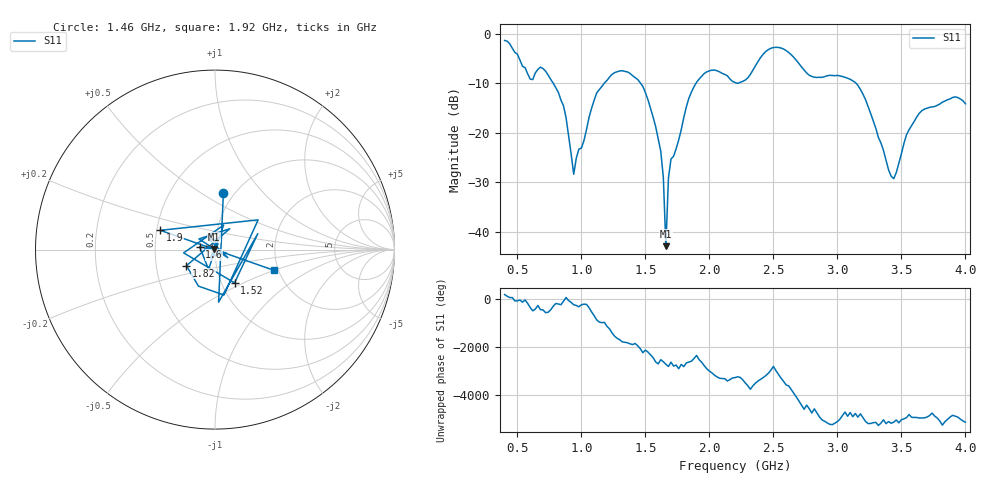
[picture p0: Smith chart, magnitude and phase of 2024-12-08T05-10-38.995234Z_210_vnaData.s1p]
!Created with skrf (http://scikit-rf.org).
# Hz S RI R 50.0
!freq ReS11 ImS11
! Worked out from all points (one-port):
!   181 points, 400 MHz to 4 GHz, reference 50 ohm
!   lowest |S11| = -42.9 dB at 1.66 GHz (marker M1), VSWR 1.01, Z = 49.4 + j0.324 ohm
!   |S11| at or under -10 dB: 779.9 MHz to 1.179 GHz (398.9 MHz wide, 40.7 % of centre); 1.462 GHz to 1.896 GHz (433.9 MHz wide, 25.8 % of centre); 3.145 GHz to end of sweep (the widest 3 of 4)
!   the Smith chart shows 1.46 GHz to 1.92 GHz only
!   S11 on the Smith chart (normalised r, x): 1.46 GHz: 0.89, +0.63; 1.52 GHz: 1.15, -0.45; 1.6 GHz: 0.84, +0.03; 1.82 GHz: 0.72, -0.13; 1.9 GHz: 0.52, +0.13; 1.92 GHz: 1.89, -0.50
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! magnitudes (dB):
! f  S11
! 400 MHz  -1.4
! 600 MHz  -9.2
! 720 MHz  -7.6
! 860 MHz  -14.5
! 940 MHz  -28.4
! 1.12 GHz  -11.9
! 1.3 GHz  -7.5
! 1.46 GHz  -9.9
! 1.52 GHz  -13.4
! 1.6 GHz  -21.2
! 1.64 GHz  -29.0
! 1.66 GHz  -42.9
! 1.68 GHz  -29.2
! 1.76 GHz  -21.5
! 1.82 GHz  -14.8
! 1.9 GHz  -9.8
! 1.92 GHz  -9.2
! 2.04 GHz  -7.4
! 2.2 GHz  -9.9
! 2.48 GHz  -3.0
! 2.66 GHz  -4.8
! 2.8 GHz  -8.6
! 3.1 GHz  -9.2
! 3.22 GHz  -13.3
! 3.44 GHz  -29.3
! 3.56 GHz  -19.4
! 3.68 GHz  -15.2
! 4 GHz  -14.2
